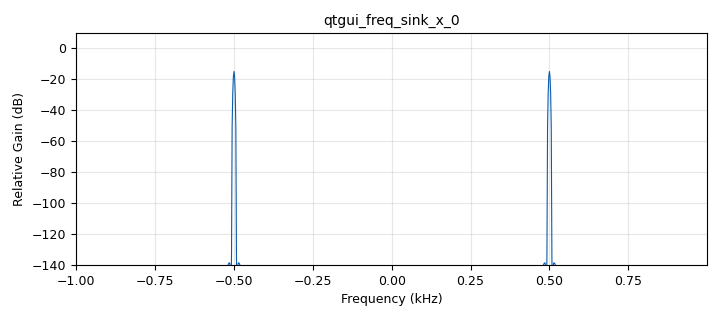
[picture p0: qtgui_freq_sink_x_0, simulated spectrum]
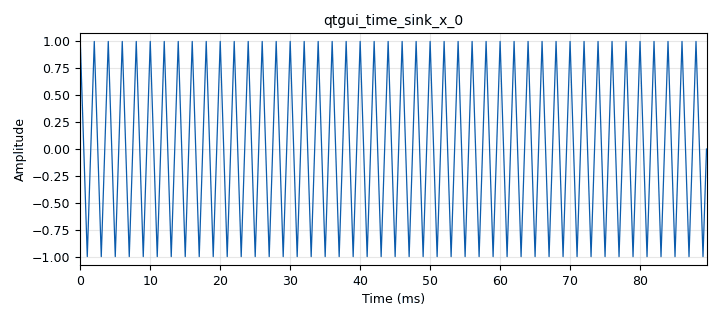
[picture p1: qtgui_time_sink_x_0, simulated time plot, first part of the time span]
options:
  parameters:
    author: Dr. Pedro E. Colla
    copyright: UADER
    description: Basic smoke test script
    generate_options: qt_gui
    id: untitled
    output_language: python
    title: SDR Basic setup test
  states: {}

blocks:
- name: samp_rate
  id: variable
  parameters:
    value: '2000'
  states: {}
- name: analog_sig_source_x_0
  id: analog_sig_source_x
  parameters:
    amp: '1'
    freq: '500'
    offset: '0'
    phase: '0'
    samp_rate: samp_rate
    type: float
    waveform: analog.GR_COS_WAVE
  states: {}
- name: blocks_throttle_0
  id: blocks_throttle
  parameters:
    samples_per_second: samp_rate
    type: float
  states: {}
- name: qtgui_freq_sink_x_0
  id: qtgui_freq_sink_x
  parameters:
    bw: samp_rate
    fc: '0'
    fftsize: '1024'
    type: float
  states: {}
- name: qtgui_time_sink_x_0
  id: qtgui_time_sink_x
  parameters:
    size: '1024'
    srate: samp_rate
    type: float
  states: {}

connections:
- [analog_sig_source_x_0, '0', blocks_throttle_0, '0']
- [blocks_throttle_0, '0', qtgui_freq_sink_x_0, '0']
- [blocks_throttle_0, '0', qtgui_time_sink_x_0, '0']

metadata:
  file_format: 1
  grc_version: 3.10.5.1
